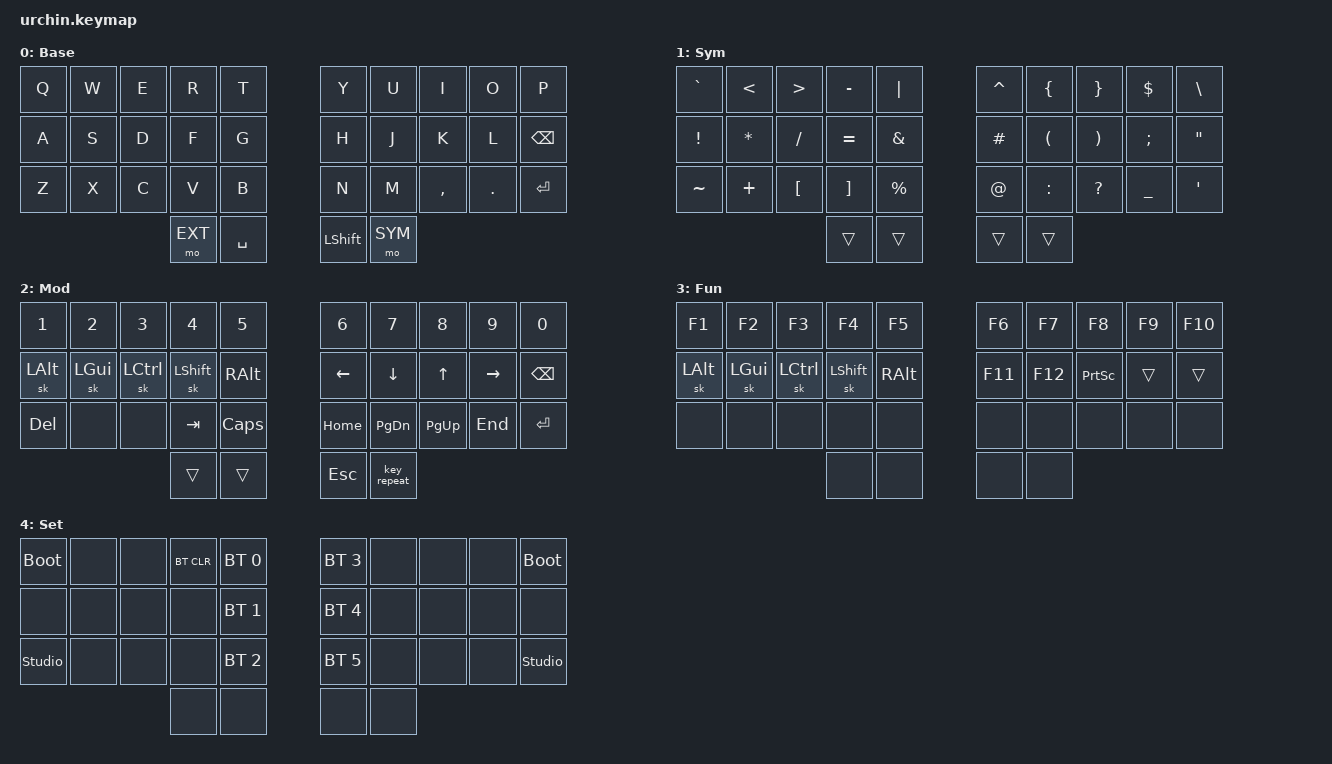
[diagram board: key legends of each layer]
/*
 * Copyright (c) 2026 dhl
 * Copyright (c) 2020 duckyb
 *
 * SPDX-License-Identifier: MIT
 */

#include <behaviors.dtsi>
#include <dt-bindings/zmk/keys.h>
#include <dt-bindings/zmk/bt.h>
#include <dt-bindings/zmk/outputs.h>

/* 
  KEY POSITIONS
  ╭────────────────╮ ╭────────────────╮
  │  0  1  2  3  4 │ │  5  6  7  8  9 │
  │ 10 11 12 13 14 │ │ 15 16 17 18 19 │
  │ 20 21 22 23 24 │ │ 25 26 27 28 29 │
  ╰────────╮ 30 31 │ │ 32 33 ╭────────╯
           ╰───────╯ ╰───────╯
*/

// Layer definitions
#define BASE 0
#define SYM 1
#define EXT 2
#define FNC 3
#define SETTINGS 4
// -----------------

&sk {
	ignore-modifiers;
};

/ {
	combos {
		compatible = "zmk,combos";

		combo_settings {
			timeout-ms = <200>;
			key-positions = <30 31>;
			bindings = <&mo SETTINGS>;
		};

		combo_fnc {
			timeout-ms = <200>;
			key-positions = <31 32>;
			bindings = <&sl FNC>;
		};
	};

	keymap {
		compatible = "zmk,keymap";
		// Base alpha layer
		default_layer {
			label = "Base";
			bindings = <
			&kp Q  &kp W  &kp E  &kp R  &kp T          &kp Y  &kp U  &kp I      &kp O    &kp P 
			&kp A  &kp S  &kp D  &kp F  &kp G          &kp H  &kp J  &kp K      &kp L    &kp BSPC
			&kp Z  &kp X  &kp C  &kp V  &kp B          &kp N  &kp M  &kp COMMA  &kp DOT  &kp ENTER
					       &mo EXT  &kp SPACE          &kp LSHFT  &mo SYM
			>;
		};

		// Symbols
		sym_layer {
			label = "Sym";
			bindings = <
			&kp GRAVE  &kp LT    &kp GT     &kp MINUS  &kp PIPE             &kp CARET  &kp LBRC   &kp RBRC   &kp DOLLAR     &kp BACKSLASH
			&kp EXCL   &kp STAR  &kp SLASH  &kp EQUAL  &kp AMPS             &kp HASH   &kp LPAR   &kp RPAR   &kp SEMICOLON  &kp DQT
			&kp TILDE  &kp PLUS  &kp LBKT   &kp RBKT   &kp PERCENT          &kp AT     &kp COLON  &kp QMARK  &kp UNDER      &kp SQT
			                                        &trans  &trans          &trans  &trans
			>;
		};

		// Main modifiers and arrow keys
		ext_layer {
			label = "Mod";
			bindings = <
            &kp N1    &kp N2    &kp N3     &kp N4     &kp N5             &kp N6    &kp N7     &kp N8     &kp N9     &kp N0 
			&sk LALT  &sk LGUI  &sk LCTRL  &sk LSHFT  &kp RALT           &kp LEFT  &kp DOWN   &kp UP     &kp RIGHT  &kp BSPC
			&kp DEL   &none     &none      &kp TAB    &kp CAPS           &kp HOME  &kp PG_DN  &kp PG_UP  &kp END    &kp ENTER
	                                            &trans  &trans           &kp ESC  &key_repeat
			>;
		};

		// Function keys with modifiers
		fnc_layer {
			label = "Fun";
			bindings = <
			&kp F1    &kp F2    &kp F3      &kp F4    &kp F5            &kp F6  &kp F7  &kp F8          &kp F9 &kp F10 
			&sk LALT  &sk LGUI  &sk LCTRL  &sk LSHFT  &kp RALT          &kp F11 &kp F12 &kp PRINTSCREEN &trans &trans
			&none     &none     &none       &none     &none             &none   &none   &none           &none  &none 
                                                  &none  &none          &none  &none
			>;
		};

		// Used to change the keyboard's settings.
		settings_layer { 
			label = "Set";

			bindings = <
			&bootloader     &none  &none  &bt BT_CLR  &bt BT_SEL 0          &bt BT_SEL 3  &none  &none  &none  &bootloader 
			&none           &none  &none  &none       &bt BT_SEL 1          &bt BT_SEL 4  &none  &none  &none  &none
			&studio_unlock  &none  &none  &none       &bt BT_SEL 2          &bt BT_SEL 5  &none  &none  &none  &studio_unlock
                                                      &none  &none          &none  &none 
			>;
		};
	};
};
